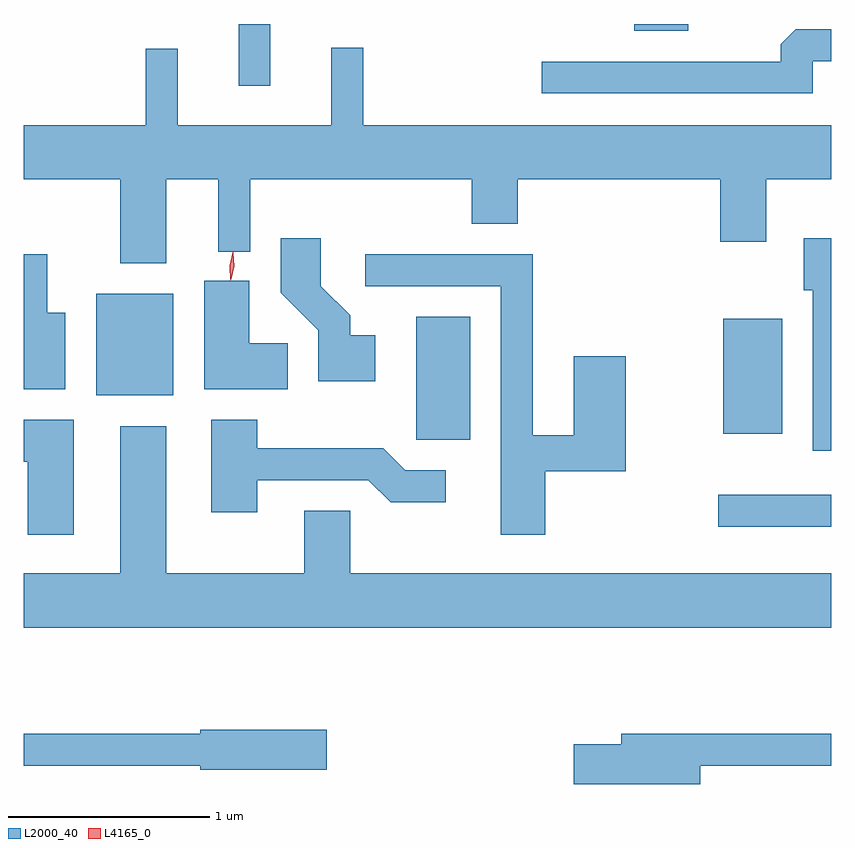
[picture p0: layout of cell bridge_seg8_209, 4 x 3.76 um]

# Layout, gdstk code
import gdstk
lib = gdstk.Library(unit=1e-6, precision=1e-09)
def R(c, l, rs):  # rectangles x0, y0, x1, y1
    for r in rs: c.add(gdstk.rectangle(r[:2], r[2:], *l))
def P(c, l, *ps):  # polygons
    for p in ps: c.add(gdstk.Polygon(p, *l))
L2000_40 = (2000, 40)
L4165_0 = (4165, 0)

bridge_seg8_209 = lib.new_cell('bridge_seg8_209')
R(bridge_seg8_209, L2000_40, [(1158.743,1927.936,1159.302,1928.094), (1157.246,1928.366,1157.514,1928.974), (1158.766,1928.396,1159.059,1928.964), (1155.661,1928.586,1156.044,1929.089), (1156.366,1930.118,1156.524,1930.425), (1158.326,1930.391,1158.594,1930.425)])
P(bridge_seg8_209, L2000_40, [(1159.209,1930.241),(1159.302,1930.241),(1159.302,1930.399),(1159.127,1930.399),(1159.051,1930.324),(1159.051,1930.239),(1157.868,1930.239),(1157.868,1930.081),(1159.209,1930.081)],
  [(1156.009,1929.656),(1156.266,1929.656),(1156.266,1929.298),(1156.424,1929.298),(1156.424,1929.656),(1157.521,1929.656),(1157.521,1929.436),(1157.749,1929.436),(1157.749,1929.656),(1158.751,1929.656),(1158.751,1929.346),(1158.979,1929.346),(1158.979,1929.656),(1159.302,1929.656),(1159.302,1929.924),(1156.984,1929.924),(1156.984,1930.308),(1156.826,1930.308),(1156.826,1929.924),(1156.064,1929.924),(1156.064,1930.303),(1155.906,1930.303),(1155.906,1929.924),(1155.302,1929.924),(1155.302,1929.656),(1155.781,1929.656),(1155.781,1929.241),(1156.009,1929.241)],
  [(1157.044,1928.884),(1156.919,1928.884),(1156.919,1928.982),(1156.774,1929.127),(1156.774,1929.364),(1156.576,1929.364),(1156.576,1929.094),(1156.761,1928.909),(1156.761,1928.656),(1157.044,1928.656)],
  [(1159.302,1929.364),(1159.166,1929.364),(1159.166,1929.106),(1159.211,1929.106),(1159.211,1928.311),(1159.302,1928.311)],
  [(1155.509,1928.994),(1155.419,1928.994),(1155.419,1929.284),(1155.302,1929.284),(1155.302,1928.616),(1155.509,1928.616)],
  [(1157.884,1928.211),(1158.284,1928.211),(1158.284,1928.779),(1158.026,1928.779),(1158.026,1928.389),(1157.824,1928.389),(1157.824,1929.284),(1156.993,1929.284),(1156.993,1929.126),(1157.666,1929.126),(1157.666,1927.896),(1157.884,1927.896)],
  [(1156.609,1928.844),(1156.419,1928.844),(1156.419,1929.154),(1156.196,1929.154),(1156.196,1928.616),(1156.609,1928.616)],
  [(1156.459,1928.166),(1157.009,1928.166),(1157.119,1928.056),(1157.393,1928.056),(1157.393,1928.214),(1157.192,1928.214),(1157.082,1928.324),(1156.459,1928.324),(1156.459,1928.464),(1156.231,1928.464),(1156.231,1928.006),(1156.459,1928.006)],
  [(1155.549,1928.464),(1155.302,1928.464),(1155.302,1928.256),(1155.321,1928.256),(1155.321,1927.896),(1155.549,1927.896)],
  [(1156.691,1928.014),(1156.691,1927.704),(1156.009,1927.704),(1156.009,1928.434),(1155.781,1928.434),(1155.781,1927.704),(1155.302,1927.704),(1155.302,1927.436),(1159.302,1927.436),(1159.302,1927.704),(1156.919,1927.704),(1156.919,1928.014)],
  [(1156.804,1926.929),(1156.176,1926.929),(1156.176,1926.909),(1155.302,1926.909),(1155.302,1926.751),(1156.176,1926.751),(1156.176,1926.731),(1156.804,1926.731)],
  [(1158.654,1926.751),(1159.302,1926.751),(1159.302,1926.909),(1158.261,1926.909),(1158.261,1926.859),(1158.026,1926.859),(1158.026,1926.661),(1158.654,1926.661)])
P(bridge_seg8_209, L4165_0, [(1156.329,1929.159),(1156.328,1929.16),(1156.324,1929.226),(1156.339,1929.291),(1156.34,1929.291),(1156.34,1929.291),(1156.344,1929.224),(1156.33,1929.16)],
  [(1156.325,1929.157),(1156.325,1929.157),(1156.322,1929.227),(1156.338,1929.294),(1156.339,1929.295),(1156.339,1929.294),(1156.342,1929.225),(1156.326,1929.157)])

lib.write_gds('bridge_seg8_209.gds')
